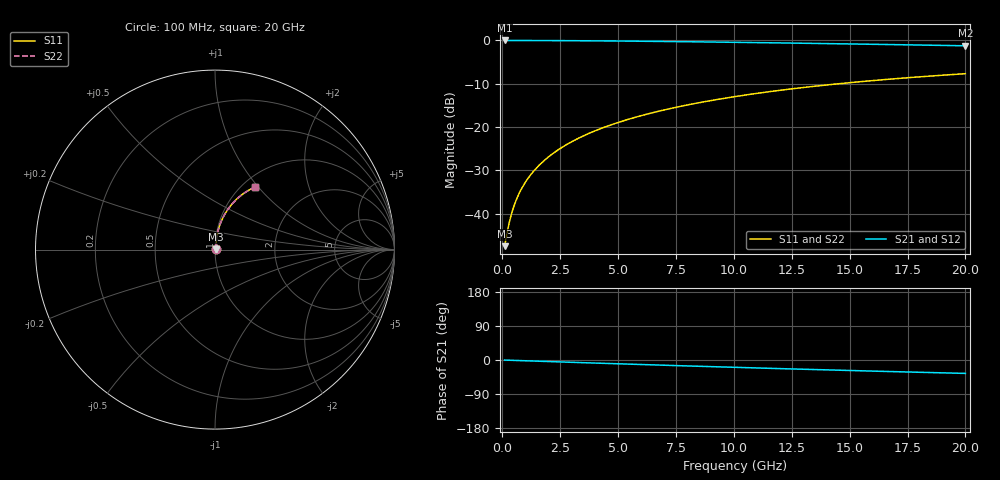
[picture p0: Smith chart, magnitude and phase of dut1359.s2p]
! Touchstone file exported from HFSS 2024.1.0
!  File:  C:/UserFiles/LocalFiles/RDL_TSV_Batchsim/temp_RDL_bottom_1359_1780370607.aedt
!  Generated:  11:26:01 AM Jun  2, 2026
!  Design:  RDL_bottom
!  Project:  temp_RDL_bottom_1359_1780370607
!  Setup:  Setup1
!  Solution:  Sweep
! Variables:
!  dtsv = 10.80580581um
!  hbump = 3um
!  htsv = 60.65um
!  ldown = 431.22um
!  lrdl = 100um
!  p = 40
!  p1 = 52um
!  rhole = 1um
!  t = 450um
!  tdown = 3.24um
!  trdl = 3.915915916um
!  wdown = 14.04um
!  wrdl = 20um
# GHz S MA R 50.000000
! Terminal data exported
! Port[1] = RDL1_T1
! Port[2] = RDL1_T2
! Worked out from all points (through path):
!   200 points, 100 MHz to 20 GHz, reference 50 ohm
!   highest |S21| = -0.03 dB at 100 MHz (marker M1); lowest = -1.3 dB at 20 GHz (marker M2)
!   group delay of S21, straight-line fit = 4.91 ps
!   lowest |S11| = -47.5 dB at 100 MHz (marker M3), VSWR 1.01, Z = 50.3 + j0.236 ohm
!   |S11| at or under -10 dB: start of sweep to 14.58 GHz
!   |S22| runs from -47.5 to -7.7 dB; largest |S21 - S12| = 2.7e-15
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0.1  0.004202 33.9  0.9965 -0.2  0.9965 -0.2  0.004202 33.9
! Gamma 0 0 0 0
! Port Impedance 50 0 50 0
0.2  0.005868 52.7  0.9964 -0.4  0.9964 -0.4  0.005868 52.7
0.3  0.007865 62.3  0.9963 -0.6  0.9963 -0.6  0.007865 62.3
0.4  0.009974 67.8  0.9962 -0.8  0.9962 -0.8  0.009974 67.8
0.5  0.01212 71.3  0.9961 -1.0  0.9961 -1.0  0.01212 71.3
0.6  0.01429 73.7  0.996 -1.2  0.996 -1.2  0.01429 73.7
0.8  0.01865 76.8  0.9957 -1.7  0.9957 -1.7  0.01865 76.8
1.1  0.02524 79.3  0.9953 -2.3  0.9953 -2.3  0.02524 79.3
1.5  0.03408 81.0  0.9946 -3.1  0.9946 -3.1  0.03408 81.0
1.8  0.04074 81.7  0.9939 -3.7  0.9939 -3.7  0.04074 81.7
2.1  0.04742 82.0  0.9932 -4.3  0.9932 -4.3  0.04742 82.0
2.7  0.06084 82.2  0.9915 -5.5  0.9915 -5.5  0.06083 82.2
3.5  0.07878 81.9  0.9887 -7.1  0.9887 -7.1  0.07878 81.9
4.2  0.09452 81.3  0.9857 -8.5  0.9857 -8.5  0.09452 81.3
5  0.1125 80.5  0.9819 -10.0  0.9819 -10.0  0.1125 80.5
5.9  0.1328 79.3  0.9769 -11.8  0.9769 -11.8  0.1328 79.3
6.8  0.1529 78.1  0.9715 -13.5  0.9715 -13.5  0.1529 78.1
8.3  0.1862 75.9  0.9616 -16.2  0.9616 -16.2  0.1862 75.9
10.1  0.2252 73.0  0.9485 -19.5  0.9485 -19.5  0.2252 73.0
13.4  0.2933 67.7  0.9222 -25.1  0.9222 -25.1  0.2933 67.8
16.7  0.3557 62.6  0.894 -30.4  0.894 -30.4  0.3557 62.6
20  0.4118 57.6  0.865 -35.4  0.865 -35.4  0.4118 57.6
